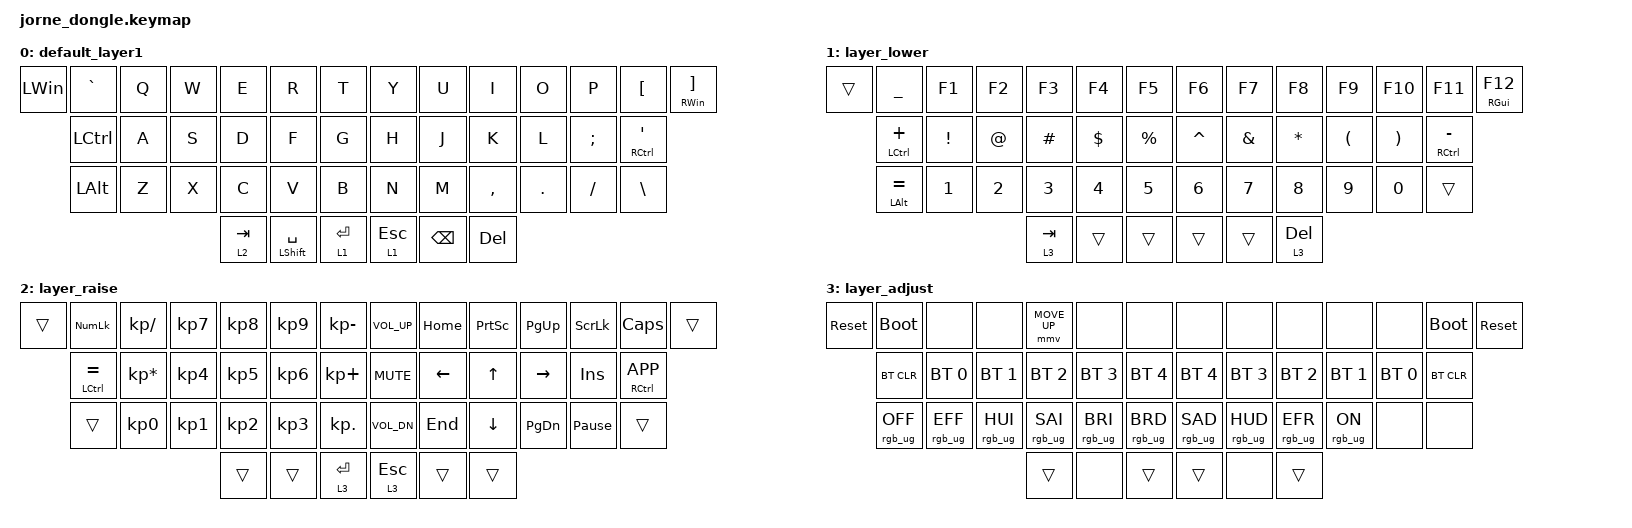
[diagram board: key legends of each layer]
/*
 * =============================================================================
 * jorne_dongle.keymap
 *
 * Версия: 1.0.0
 * Автор:  Evgeniy Moskovkin
 *
 * ВАЖНО:
 *   Логику клавиш (какая клавиша что печатает, слои, hold-tap и т.д.)
 *   обрабатывает ЦЕНТРАЛЬНОЕ устройство — то есть теперь это донгл, а не
 *   левая половинка. Значит именно сюда нужно перенести содержимое layers
 *   /behaviors из оригинального:
 *     https://github.com/zmkfirmware/zmk/blob/main/app/boards/shields/jorne/jorne.keymap
 *   (или из вашего кастомного jorne.keymap, если вы уже его редактировали).
 *
 *   Ниже — только необходимый каркас файла. Скопируйте секции
 *   `/ { behaviors { ... }; keymap { ... }; };` из исходного jorne.keymap
 *   поверх этого файла, ничего в структуре менять не нужно — количество
 *   позиций клавиш (bindings) должно совпадать с физической раскладкой,
 *   подключённой в jorne_dongle.overlay.
 * =============================================================================
 */

#include <behaviors.dtsi>
#include <dt-bindings/zmk/keys.h>
#include <dt-bindings/zmk/bt.h>

/ {
    keymap {
        compatible = "zmk,keymap";

        default_layer1 {
            bindings = <
&kp LWIN  &kp GRAVE  &kp Q  &kp W  &kp E      &kp R            &kp T      &kp Y      &kp U     &kp I      &kp O    &kp P     &kp LBKT       &mt RWIN RBKT
          &kp LCTRL  &kp A  &kp S  &kp D      &kp F            &kp G      &kp H      &kp J     &kp K      &kp L    &kp SEMI  &mt RCTRL SQT
          &kp LALT   &kp Z  &kp X  &kp C      &kp V            &kp B      &kp N      &kp M     &kp COMMA  &kp DOT  &kp FSLH  &kp BSLH
                                   &lt 2 TAB  &mt LSHFT SPACE  &lt 1 RET  &lt 1 ESC  &kp BSPC  &kp DEL
            >;
        };

        layer_lower {
            bindings = <
&trans  &kp UNDER       &kp F1    &kp F2  &kp F3     &kp F4    &kp F5     &kp F6     &kp F7    &kp F8     &kp F9    &kp F10   &kp F11          &mt RGUI F12
        &mt LCTRL PLUS  &kp EXCL  &kp AT  &kp HASH   &kp DLLR  &kp PRCNT  &kp CARET  &kp AMPS  &kp STAR   &kp LPAR  &kp RPAR  &mt RCTRL MINUS
        &mt LALT EQUAL  &kp N1    &kp N2  &kp N3     &kp N4    &kp N5     &kp N6     &kp N7    &kp N8     &kp N9    &kp N0    &trans
                                          &lt 3 TAB  &trans    &trans     &trans     &trans    &lt 3 DEL
            >;
        };

        layer_raise {
            bindings = <
&trans  &kp KP_NUM       &kp KP_SLASH     &kp KP_N7  &kp KP_N8  &kp KP_N9  &kp KP_MINUS  &kp C_VOL_UP  &kp HOME  &kp PSCRN  &kp PG_UP  &kp SLCK         &kp CAPS         &trans
        &mt LCTRL EQUAL  &kp KP_MULTIPLY  &kp KP_N4  &kp KP_N5  &kp KP_N6  &kp KP_PLUS   &kp C_MUTE    &kp LEFT  &kp UP     &kp RIGHT  &kp INS          &mt RCTRL K_APP
        &trans           &kp KP_N0        &kp KP_N1  &kp KP_N2  &kp KP_N3  &kp KP_DOT    &kp C_VOL_DN  &kp END   &kp DOWN   &kp PG_DN  &kp PAUSE_BREAK  &trans
                                                     &trans     &trans     &lt 3 RET     &lt 3 ESC     &trans    &trans
            >;
        };

        layer_adjust {
            bindings = <
&sys_reset  &bootloader      &none            &none            &mmv MOVE_UP     &none            &none            &none            &none            &none            &none           &none         &bootloader  &sys_reset
            &bt BT_CLR       &bt BT_SEL 0     &bt BT_SEL 1     &bt BT_SEL 2     &bt BT_SEL 3     &bt BT_SEL 4     &bt BT_SEL 4     &bt BT_SEL 3     &bt BT_SEL 2     &bt BT_SEL 1    &bt BT_SEL 0  &bt BT_CLR
            &rgb_ug RGB_OFF  &rgb_ug RGB_EFF  &rgb_ug RGB_HUI  &rgb_ug RGB_SAI  &rgb_ug RGB_BRI  &rgb_ug RGB_BRD  &rgb_ug RGB_SAD  &rgb_ug RGB_HUD  &rgb_ug RGB_EFR  &rgb_ug RGB_ON  &none         &none
                                                               &trans           &none            &trans           &trans           &none            &trans
            >;
        };
    };
};
